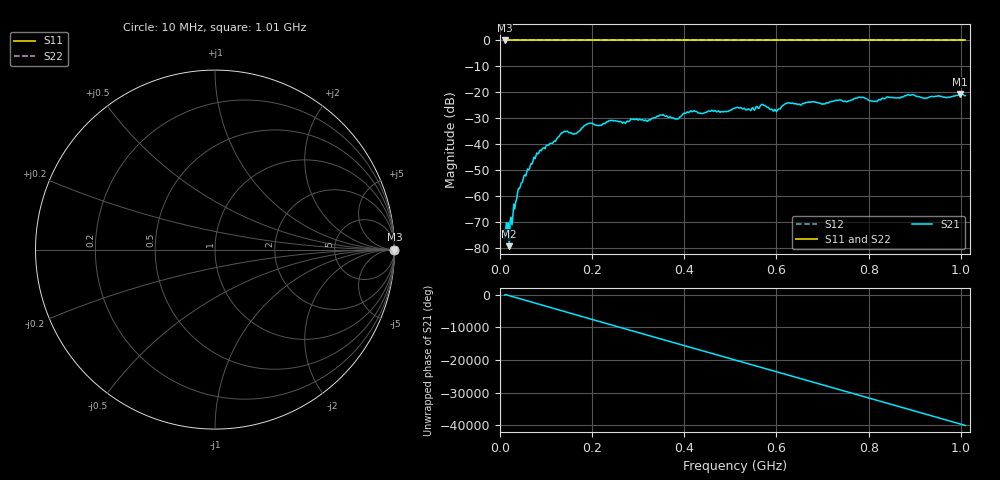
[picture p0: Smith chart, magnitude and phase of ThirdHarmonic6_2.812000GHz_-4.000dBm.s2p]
! 8/17/2025 7:23:21 AM
! C:\ANRITSUVNA\TEMP\TEMP.S2P
! CHANNEL.1
! TR.MEASUREMENT
! RAW.DATA
! RF.CORRECTION.OFF
! AVERAGING.OFF
! IF.BANDWIDTH: 5KHZ
! SWEEPTYPE:  FREQ.SWEEP(Linear)
! Reference Plane Port Info
! PORT:  PORT1  PORT2
! DISTANCE:  0  m  0  m
! TIME:  0  s  0  s
! PHASE.OFFSET:  0  deg.  0  deg.
! LOSS:  0  dB  0  dB
! REF.LOSS:  0  dB  0  dB
! REF.FREQ:  0  Hz  0  Hz
! Power Info
! POWER:  -20  dBm  -20  dBm
! EFF.POWER:  -20  dBm  -20  dBm
! SOURCE.ATTEN:  0  dB  0  dB
! TEST.ATTEN:  0  dB  0  dB
# GHZ S RI R 50.0
! FREQ.GHZ  S11RE  S11IM  S21RE  S21IM  S12RE  S12IM  S22RE  S22IM
!; PortSelection: Port_12
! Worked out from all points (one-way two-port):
!   501 points, 10 MHz to 1.01 GHz, reference 50 ohm
!   highest |S21| = -20.64 dB at 998 MHz (marker M1); lowest = -79.3 dB at 20 MHz (marker M2)
!   lowest |S11| = 0.0 dB at 10 MHz (marker M3)
!   |S11| at or under -10 dB: nowhere
!   |S22| runs from 0.0 to 0.0 dB; largest |S21 - S12| = 1.1
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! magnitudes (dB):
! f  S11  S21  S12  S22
! 10 MHz  0.0  -76.4  0.0  0.0
! 20 MHz  0.0  -79.3  0.0  0.0
! 24 MHz  0.0  -68.2  0.0  0.0
! 26 MHz  0.0  -71.1  0.0  0.0
! 42 MHz  0.0  -57.1  0.0  0.0
! 78 MHz  0.0  -44.5  0.0  0.0
! 136 MHz  0.0  -35.6  0.0  0.0
! 162 MHz  0.0  -35.9  0.0  0.0
! 178 MHz  0.0  -33.7  0.0  0.0
! 194 MHz  0.0  -31.9  0.0  0.0
! 322 MHz  0.0  -30.8  0.0  0.0
! 344 MHz  0.0  -29.2  0.0  0.0
! 384 MHz  0.0  -30.3  0.0  0.0
! 416 MHz  0.0  -27.4  0.0  0.0
! 510 MHz  0.0  -26.1  0.0  0.0
! 570 MHz  0.0  -24.7  0.0  0.0
! 596 MHz  0.0  -26.6  0.0  0.0
! 624 MHz  0.0  -24.1  0.0  0.0
! 678 MHz  0.0  -23.6  0.0  0.0
! 844 MHz  0.0  -21.9  0.0  0.0
! 998 MHz  0.0  -20.6  0.0  0.0
! 1.01 GHz  0.0  -21.3  0.0  0.0
